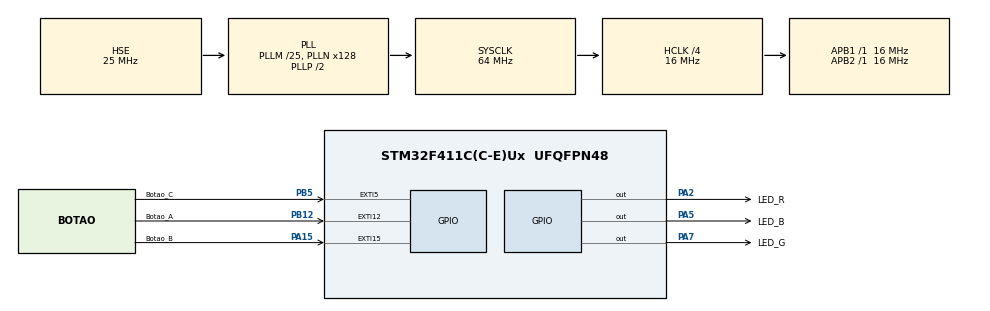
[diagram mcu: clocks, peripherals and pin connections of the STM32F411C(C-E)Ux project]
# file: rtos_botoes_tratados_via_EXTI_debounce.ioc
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FREERTOS.Tasks01=buttonTask,24,128,ButtonTask,Default,NULL,Dynamic,NULL,NULL
FREERTOS.configUSE_NEWLIB_REENTRANT=1
Mcu.Family=STM32F4
Mcu.Name=STM32F411C(C-E)Ux
Mcu.Package=UFQFPN48
NVIC.EXTI15_10_IRQn=true\:5\:0\:false\:false\:true\:true\:true\:true\:true
NVIC.EXTI9_5_IRQn=true\:5\:0\:false\:false\:true\:true\:true\:true\:true
NVIC.FPU_IRQn=true\:5\:0\:false\:false\:true\:true\:true\:false\:true
NVIC.PriorityGroup=NVIC_PRIORITYGROUP_4
NVIC.TIM2_IRQn=true\:15\:0\:false\:false\:true\:false\:false\:true\:true
NVIC.TimeBase=TIM2_IRQn
NVIC.TimeBaseIP=TIM2
PA13.Mode=Serial_Wire
PA13.Signal=SYS_JTMS-SWDIO
PA14.Mode=Serial_Wire
PA14.Signal=SYS_JTCK-SWCLK
PA15.GPIO_Label=Botao_B
PA15.GPIO_ModeDefaultEXTI=GPIO_MODE_IT_RISING_FALLING
PA15.GPIO_PuPd=GPIO_PULLUP
PA15.Signal=GPXTI15
PA2.GPIO_Label=LED_R
PA2.Signal=GPIO_Output
PA5.GPIO_Label=LED_B
PA5.Signal=GPIO_Output
PA7.GPIO_Label=LED_G
PA7.Signal=GPIO_Output
PB12.GPIO_Label=Botao_A
PB12.GPIO_ModeDefaultEXTI=GPIO_MODE_IT_RISING_FALLING
PB12.GPIO_PuPd=GPIO_PULLUP
PB12.Signal=GPXTI12
PB5.GPIO_Label=Botao_C
PB5.GPIO_ModeDefaultEXTI=GPIO_MODE_IT_RISING_FALLING
PB5.GPIO_PuPd=GPIO_PULLUP
PB5.Signal=GPXTI5
PH0\ -\ OSC_IN.Mode=HSE-External-Oscillator
PH0\ -\ OSC_IN.Signal=RCC_OSC_IN
PH1\ -\ OSC_OUT.Mode=HSE-External-Oscillator
PH1\ -\ OSC_OUT.Signal=RCC_OSC_OUT
ProjectManager.HeapSize=0x200
ProjectManager.StackSize=0x400
ProjectManager.TargetToolchain=STM32CubeIDE
RCC.48MHZClocksFreq_Value=32000000
RCC.AHBCLKDivider=RCC_SYSCLK_DIV4
RCC.AHBFreq_Value=16000000
RCC.APB1Freq_Value=16000000
RCC.APB1TimFreq_Value=16000000
RCC.APB2Freq_Value=16000000
RCC.APB2TimFreq_Value=16000000
RCC.CortexFreq_Value=16000000
RCC.HCLKFreq_Value=16000000
RCC.HSE_VALUE=25000000
RCC.HSI_VALUE=16000000
RCC.LSE_VALUE=32768
RCC.PLLM=25
RCC.PLLN=128
RCC.PLLSourceVirtual=RCC_PLLSOURCE_HSE
RCC.SYSCLKFreq_VALUE=64000000
RCC.SYSCLKSource=RCC_SYSCLKSOURCE_PLLCLK
RCC.VCOOutputFreq_Value=128000000
VP_FREERTOS_VS_CMSIS_V2.Mode=CMSIS_V2
VP_SYS_VS_tim2.Mode=TIM2
board=custom

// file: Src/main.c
/* USER CODE BEGIN Header */
/**
  ******************************************************************************
  * @file           : main.c
  * @brief          : Este projeto realiza as mesmas tarefas do projeto "botoes_tratados_via_EXTI_debounce"
  * 				com DEBOUNCER.
  * 				Os códigos foram desenvolvidos em cima dos códigos gerados pelo STM32CubeMX.
  * @author			: Wu Shin Ting
  * @date			: 26/01/2026
  ******************************************************************************
  * @attention
  *
  * Copyright (c) 2026 STMicroelectronics.
  * All rights reserved.
  *
  * This software is licensed under terms that can be found in the LICENSE file
  * in the root directory of this software component.
  * If no LICENSE file comes with this software, it is provided AS-IS.
  *
  ******************************************************************************
  *
  * @section overview Visão Geral
  *
  * Esta aplicação demonstra a integração entre:
  *
  * - HAL (Hardware Abstraction Layer) → responsável por lidar com o hardware e interrupções
  * - FreeRTOS (via CMSIS-RTOS2) → responsável por organizar e coordenar a execução
  *
  * O sistema reage a eventos de três botões físicos utilizando interrupções (EXTI).
  * Cada evento é capturado rapidamente e enviado para uma fila do RTOS, onde será
  * processado posteriormente por uma tarefa.
  *
  * Esse modelo é conhecido como "Deferred Interrupt Processing (Processamento diferido de
  * interrupções)", ou seja:
  * - A interrupção apenas registra o evento
  * - A lógica pesada roda em contexto de tarefa
  *
  *
  * @section user_code Código Implementado Manualmente
  *
  * As seguintes partes foram implementadas manualmente pelo usuário:
  *
  * - HAL_GPIO_EXTI_Callback()
  *   → captura eventos de interrupção dos botões
  *   → empacota os dados em uma estrutura
  *   → envia para a fila do FreeRTOS
  *
  * - Estrutura ButtonEvent_t (definida em outro arquivo)
  *   → representa um evento de botão (qual botão + tipo de borda)
  *
  * - Uso da fila (buttonQueueHandle) para comunicação entre ISR e task
  *
  * Todo o restante (inicialização do HAL, clock, setup básico do RTOS)
  * foi gerado automaticamente pelo STM32CubeMX.
  *
  *
  * @section mental_model Modelo Mental do Sistema
  *
  * O sistema pode ser entendido como um pipeline de eventos:
  *
  * @code
  * [Botão físico]
  *        ↓
  * [Interrupção EXTI (hardware)]
  *        ↓
  * [HAL_GPIO_EXTI_Callback()  ← contexto de ISR]
  *        ↓
  * [Fila do FreeRTOS (queue)]
  *        ↓
  * [ButtonTask ← contexto de tarefa]
  *        ↓
  * [Atualização do LED RGB]
  * @endcode
  *
  * Características importantes:
  *
  * - Eventos podem ocorrer de forma concorrente (interrupções)
  * - A fila garante:
  *   - ordem de processamento
  *   - desacoplamento entre ISR e lógica
  *
  * - Apenas a task manipula o LED → evita condições de corrida
  * - ISR é rápida e não bloqueante
  *
  * Esse modelo é amplamente utilizado em sistemas embarcados reais.
  *
  *
  * @section cube_config Configuração no CubeMX
  *
  * No STM32CubeMX, foram configurados:
  *
  * GPIO:
  * - 3 pinos como entrada com interrupção (EXTI)
  * - Trigger por borda (subida, descida ou ambos)
  *
  * FreeRTOS:
  * - 1 fila (queue) para eventos de botão
  *   - profundidade: 8
  *   - tipo: ButtonEvent_t
  *
  * - 1 tarefa:
  *   - Nome: buttonTask
  *   - Prioridade: Normal
  *
  * NVIC:
  * - Interrupções EXTI habilitadas para os pinos dos botões
  *
  *
  * Observação didática:
  * Este projeto mostra uma evolução em relação ao polling:
  *
  * - rtos_botoes_com_debouncer: leitura contínua dos botões (polling)
  * - Agora: eventos assíncronos + RTOS
  *
  * Isso torna o sistema mais eficiente e escalável.
  *
 */
/* USER CODE END Header */
#include "main.h"
#include "cmsis_os.h"
#include "gpio.h"

void SystemClock_Config(void);
void MX_FREERTOS_Init(void);

int main(void)
{

  /* MCU Configuration--------------------------------------------------------*/

  /* Reset of all peripherals, Initializes the Flash interface and the Systick. */
  HAL_Init();

  /* Configure the system clock */
  SystemClock_Config();

  /* Initialize all configured peripherals */
  MX_GPIO_Init();

  /* Init scheduler */
  osKernelInitialize();  /* Call init function for freertos objects (in cmsis_os2.c) */
  MX_FREERTOS_Init();

  /* Start scheduler */
  osKernelStart();

  /* We should never get here as control is now taken by the scheduler */

  /* Infinite loop */
  while (1)
  {

  }
}

void SystemClock_Config(void)
{
  RCC_OscInitTypeDef RCC_OscInitStruct = {0};
  RCC_ClkInitTypeDef RCC_ClkInitStruct = {0};

  /** Configure the main internal regulator output voltage
  */
  __HAL_RCC_PWR_CLK_ENABLE();
  __HAL_PWR_VOLTAGESCALING_CONFIG(PWR_REGULATOR_VOLTAGE_SCALE1);

  /** Initializes the RCC Oscillators according to the specified parameters
  * in the RCC_OscInitTypeDef structure.
  */
  RCC_OscInitStruct.OscillatorType = RCC_OSCILLATORTYPE_HSE;
  RCC_OscInitStruct.HSEState = RCC_HSE_ON;
  RCC_OscInitStruct.PLL.PLLState = RCC_PLL_ON;
  RCC_OscInitStruct.PLL.PLLSource = RCC_PLLSOURCE_HSE;
  RCC_OscInitStruct.PLL.PLLM = 25;
  RCC_OscInitStruct.PLL.PLLN = 128;
  RCC_OscInitStruct.PLL.PLLP = RCC_PLLP_DIV2;
  RCC_OscInitStruct.PLL.PLLQ = 4;
  if (HAL_RCC_OscConfig(&RCC_OscInitStruct) != HAL_OK)
  {
    Error_Handler();
  }

  /** Initializes the CPU, AHB and APB buses clocks
  */
  RCC_ClkInitStruct.ClockType = RCC_CLOCKTYPE_HCLK|RCC_CLOCKTYPE_SYSCLK
                              |RCC_CLOCKTYPE_PCLK1|RCC_CLOCKTYPE_PCLK2;
  RCC_ClkInitStruct.SYSCLKSource = RCC_SYSCLKSOURCE_PLLCLK;
  RCC_ClkInitStruct.AHBCLKDivider = RCC_SYSCLK_DIV4;
  RCC_ClkInitStruct.APB1CLKDivider = RCC_HCLK_DIV1;
  RCC_ClkInitStruct.APB2CLKDivider = RCC_HCLK_DIV1;

  if (HAL_RCC_ClockConfig(&RCC_ClkInitStruct, FLASH_LATENCY_0) != HAL_OK)
  {
    Error_Handler();
  }
}

/* USER CODE BEGIN 4 */
/**
 * @brief Callback de interrupção para pinos GPIO (EXTI).
 *
 * @param[in] GPIO_Pin Pino que gerou a interrupção.
 *
 * @details
 * Esta função é chamada automaticamente pelo HAL sempre que ocorre
 * uma interrupção em um pino configurado como EXTI.
 *
 * @attention Esta função executa em contexto de interrupção (ISR).
 *
 * Responsabilidades:
 * - Identificar qual botão gerou o evento
 * - Determinar o tipo de borda (subida/descida)
 * - Criar um evento (ButtonEvent_t)
 * - Enviar o evento para a fila do RTOS
 *
 * @warning O que NÃO fazer aqui:
 * - Não usar delays
 * - Não executar lógica complexa. Delegue-a para tarefas
 * - Não acessar recursos compartilhados diretamente
 * - Código bloqueante
 *
 * Integração HAL + RTOS:
 * - HAL detecta a interrupção
 * - RTOS organiza o processamento via fila
 *
 * Isso garante:
 * - segurança (sem race conditions)
 * - escalabilidade
 * - melhor desempenho
 */
void HAL_GPIO_EXTI_Callback(uint16_t GPIO_Pin)
{
    ButtonEvent_t evt;

    /* Identifica o botão que gerou o evento */
    switch (GPIO_Pin)
    {
        case GPIO_PIN_12:  /* Botão A */
            evt.button_id = 12;
            evt.rising_edge = (HAL_GPIO_ReadPin(GPIOB, GPIO_PIN_12) == GPIO_PIN_SET);
            break;

        case GPIO_PIN_15:  /* Botão B */
            evt.button_id = 15;
            evt.rising_edge = (HAL_GPIO_ReadPin(GPIOA, GPIO_PIN_15) == GPIO_PIN_SET);
            break;

        case GPIO_PIN_5:   /* Botão C */
            evt.button_id = 5;
            evt.rising_edge = (HAL_GPIO_ReadPin(GPIOB, GPIO_PIN_5) == GPIO_PIN_SET);
            break;

        default:
            return; /* pino desconhecido: ignora */
    }

    /* Envio não bloqueante para fila tratada por uma tarefa */
    (void)osMessageQueuePut(get_buttonQueueHandle(), &evt, 0U, 0U);
}

/* USER CODE END 4 */

void HAL_TIM_PeriodElapsedCallback(TIM_HandleTypeDef *htim)
{
  if (htim->Instance == TIM2)
  {
    HAL_IncTick();
  }
}

void Error_Handler(void)
{
  __disable_irq();
  while (1)
  {
  }
}

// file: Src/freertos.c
/* USER CODE BEGIN Header */
/**
  ******************************************************************************
  * @file       freertos.c
  * @brief      Code for freertos applications (fila/queue foi aplicada para coordenar
  *             os eventos entre interrupção e tarefa)
  * @author     Wu Shin-Ting
  * @date       26/01/2026
  ******************************************************************************
  * @attention
  *
  * Copyright (c) 2026 STMicroelectronics.
  * All rights reserved.
  *
  * This software is licensed under terms that can be found in the LICENSE file
  * in the root directory of this software component.
  * If no LICENSE file comes with this software, it is provided AS-IS.
  *
  ******************************************************************************
  * @details
  * Em FreeRTOS usando a camada CMSIS-RTOS2, podemos enviar dados para uma tarefa
  * por meio de filas (queues), permitindo que esses dados sejam processados
  * posteriormente em contexto de tarefa. Essas filas são representadas por um identificador do tipo ::osMessageQueueId_t,
  * também chamado de "handle".
  *
  * Um "handle" representa a fila e contém as informações necessárias para que
  * diferentes partes do sistema possam interagir com ela, por exemplo:
  * - enviar eventos de botão para a fila (ex.: a partir de uma ISR/EXTI callback)
  * - receber eventos na task responsável por processar os botões
  *
  * Importante:
  * - A fila em si não processa os dados; ela apenas armazena e organiza os eventos.
  * - O processamento é realizado por uma tarefa que consome os dados da fila.
  *
  * Por padrão, o CubeMX gera o handle da fila como uma variável global no
  * arquivo `freertos.c`:
  * @code
  * osMessageQueueId_t buttonQueueHandle;
  * @endcode
  *
  * Entretanto, boas práticas de engenharia de software recomendam evitar
  * expor variáveis globais diretamente (via `extern`) sempre que possível.
  *
  * Vantagens:
  * - encapsula o acesso ao recurso
  * - evita espalhar `extern` pelo projeto
  * - facilita refatorações futuras (ex.: mudar o nome da fila ou criar múltiplas filas)
  *
  * Atenção:
  * - A fila precisa ter sido criada antes de ser utilizada.
  *   Em geral, isso ocorre dentro de ::MX_FREERTOS_Init().
  * - Se utilizada antes da criação, o retorno do handle pode ser `NULL`.
  *
  */
/* USER CODE END Header */

#include "FreeRTOS.h"
#include "task.h"
#include "main.h"
#include "cmsis_os.h"

/* USER CODE BEGIN Includes */
#include "queue.h"
/* USER CODE END Includes */

/* USER CODE BEGIN Variables */
/**
 * @brief Identificador (handle) para a fila de mensagens de eventos do botão.
 * * Este objeto é utilizado pelas funções do CMSIS-RTOS para gerenciar a
 * comunicação entre a tarefa de varredura (polling/interrupt) e a tarefa
 * de processamento de lógica.
 */
osMessageQueueId_t buttonQueueHandle;
/* USER CODE END Variables */
/* Definitions for buttonTask */
osThreadId_t buttonTaskHandle;
const osThreadAttr_t buttonTask_attributes = {
  .name = "buttonTask",
  .stack_size = 128 * 4,
  .priority = (osPriority_t) osPriorityNormal,
};

void ButtonTask(void *argument);

void MX_FREERTOS_Init(void); /* (MISRA C 2004 rule 8.1) */

void MX_FREERTOS_Init(void) {

  /* USER CODE BEGIN RTOS_QUEUES */
  /* add queues, ... */
  buttonQueueHandle = osMessageQueueNew(
		                      8,                       // profundidade
		                      sizeof(ButtonEvent_t),   // tamanho do item
		                      NULL);
  /* USER CODE END RTOS_QUEUES */

  /* Create the thread(s) */
  /* creation of buttonTask */
  buttonTaskHandle = osThreadNew(ButtonTask, NULL, &buttonTask_attributes);

}

/* USER CODE BEGIN Header_ButtonTask */
/**
 * @brief Tarefa (thread/task) do FreeRTOS.
 *
 * @details
 * Em um sistema baseado em RTOS, cada task funciona como um "programa" independente
 * que o escalonador executa em fatias de tempo, alternando entre várias tasks.
 *
 * Diferença fundamental para o "superloop" (while(1) do bare-metal):
 * - Em bare-metal, o while(1) é o fluxo principal do programa.
 * - Em RTOS, o while(1) existe dentro de cada task e o escalonador decide
 *   quando cada task roda.
 *
 * Nesta aplicação, a task:
 * 1) aguarda eventos de botão vindos de uma fila (queue)
 * 2) faz o *debounce* fora da interrupção (ISR)
 * 3) interpreta qual botão foi pressionado
 * 4) atualiza os LEDs de acordo com o botão
 *
 * A comunicação entre interrupção e task é feita pela fila:
 * - a ISR (EXTI callback) detecta o botão e envia um evento para a fila
 * - esta task bloqueia esperando esse evento
 *
 * Esse padrão é considerado uma boa prática em sistemas embarcados com RTOS:
 * - ISR curta e rápida
 * - processamento (debounce + lógica) em task
 *
 * @param argument Ponteiro genérico (não utilizado aqui). Pode ser usado para
 *        passar parâmetros para a task.
 */
/* USER CODE END Header_ButtonTask */
void ButtonTask(void *argument)
{
	/* USER CODE BEGIN ButtonTask */

	/**
	 * @brief Variável local para armazenar o evento recebido da fila.
	 *
	 * ButtonEvent_t é uma estrutura criada pelo usuário para representar um evento
	 * gerado por um botão. Ela normalmente contém informações como:
	 * - qual botão gerou a interrupção (ID ou pino)
	 * - se foi borda de subida/descida (pressionou/soltou)
	 * - timestamp/tick
	 *
	 * Aqui, a variável evt será preenchida a cada evento recebido via queue.
	 */

	ButtonEvent_t evt;

	/**
	 * @brief Loop infinito da task.
	 *
	 * Toda task do FreeRTOS normalmente possui um loop infinito. Porém, diferente
	 * do bare-metal, este loop não "prende" a CPU o tempo todo, porque:
	 * - a task pode BLOQUEAR (ex.: esperando fila, semáforo, delay)
	 * - quando bloqueada, o FreeRTOS executa outras tasks
	 *
	 * O segredo para um RTOS eficiente é:
	 * - evitar busy-wait (laços vazios)
	 * - usar bloqueios (queue/semaphore) e osDelay/vTaskDelay
	 */

	/* Infinite loop */
	for(;;)
	{
		/**
		 * @brief Espera por um evento na fila buttonQueueHandle.
		 *
		 * osMessageQueueGet:
		 * - copia um item da fila para a variável evt
		 * - retorna osOK se conseguiu receber
		 *
		 * Parâmetros:
		 * - buttonQueueHandle: identificador da fila (criada em MX_FREERTOS_Init)
		 * - &evt: ponteiro para onde o item recebido será copiado
		 * - NULL: prioridade do item (não utilizada aqui)
		 * - osWaitForever: a task fica BLOQUEADA até chegar um evento
		 *
		 * Ponto importante para RTOS:
		 * - Enquanto espera (bloqueada), esta task NÃO consome CPU.
		 * - Assim que a ISR enviar um evento para a fila, a task acorda.
		 */
		if (osMessageQueueGet(buttonQueueHandle, &evt, NULL, osWaitForever) == osOK)
		{
			/**
			 * @brief Debounce fora da ISR (boa prática).
			 *
			 * Botões mecânicos geram "ruído" (bouncing), ou seja, várias transições
			 * rápidas ao apertar/soltar.
			 *
			 * Em vez de fazer debounce dentro da interrupção (o que deixaria a ISR lenta),
			 * fazemos aqui na task usando osDelay.
			 *
			 * osDelay(20):
			 * - bloqueia esta task por ~20 ms
			 * - permite que outras tasks rodem nesse tempo
			 *
			 * Não use HAL_Delay dentro de tasks (em geral).
			 * Prefira osDelay/vTaskDelay, pois o RTOS gerencia melhor.
			 */
			/* Debounce fora da ISR */
			osDelay(20);

			/**
			 * @brief Tratamento para borda de subida (rising edge).
			 *
			 * Dependendo da configuração do EXTI, um evento pode representar:
			 * - pressionar o botão
			 * - soltar o botão
			 *
			 * Aqui o código assume que evt.rising_edge indica uma borda de subida
			 * (por exemplo, botão foi solto, dependendo do pull-up/pull-down).
			 *
			 * Quando ocorre rising edge, desligamos todos os LEDs e voltamos ao loop.
			 */

			if (evt.rising_edge)
			{
				HAL_GPIO_WritePin(GPIOA,
						LED_R_Pin | LED_B_Pin | LED_G_Pin,
						GPIO_PIN_RESET);
				continue;
			}

			/**
			 * @brief Decide a ação com base no botão pressionado.
			 *
			 * evt.button_id armazena o identificador do botão.
			 * Aqui foram usados valores numéricos (12, 15, 5), que correspondem aos
			 * pinos GPIO associados aos botões.
			 *
			 * Sugestão didática:
			 * Em versões futuras, pode-se trocar esses números por um enum:
			 *   typedef enum { BTN_A, BTN_B, BTN_C } ButtonId_t;
			 * Isso torna o código mais legível.
			 */
			switch (evt.button_id)
			{
			case 12: /* Botão A */
				/* Liga LED vermelho e desliga os demais */
				HAL_GPIO_WritePin(GPIOA, LED_R_Pin, GPIO_PIN_SET);
				HAL_GPIO_WritePin(GPIOA, LED_B_Pin | LED_G_Pin, GPIO_PIN_RESET);
				break;

			case 15: /* Botão B */
				/* Liga LED azul e desliga os demais */
				HAL_GPIO_WritePin(GPIOA, LED_B_Pin, GPIO_PIN_SET);
				HAL_GPIO_WritePin(GPIOA, LED_R_Pin | LED_G_Pin, GPIO_PIN_RESET);
				break;

			case 5:  /* Botão C */
				/* Liga LED verde e desliga os demais */
				HAL_GPIO_WritePin(GPIOA, LED_G_Pin, GPIO_PIN_SET);
				HAL_GPIO_WritePin(GPIOA, LED_R_Pin | LED_B_Pin, GPIO_PIN_RESET);
				break;

			default:
				/* Caso chegue um evento inesperado, nenhuma ação é tomada */
				break;
			}
		}
	}
	/* USER CODE END ButtonTask */
}

/* USER CODE BEGIN Application */
/**
 * @brief Retorna o identificador (handle) da fila de mensagens dos botões.
 *
 * @details Esta função é utilizada como uma "interface" para acessar o handle
 *          da fila criada pelo RTOS
 *
 * @return ::osMessageQueueId_t Handle/ID da fila de eventos de botões.
 */
osMessageQueueId_t get_buttonQueueHandle(void) {
	return buttonQueueHandle;
}
/* USER CODE END Application */
